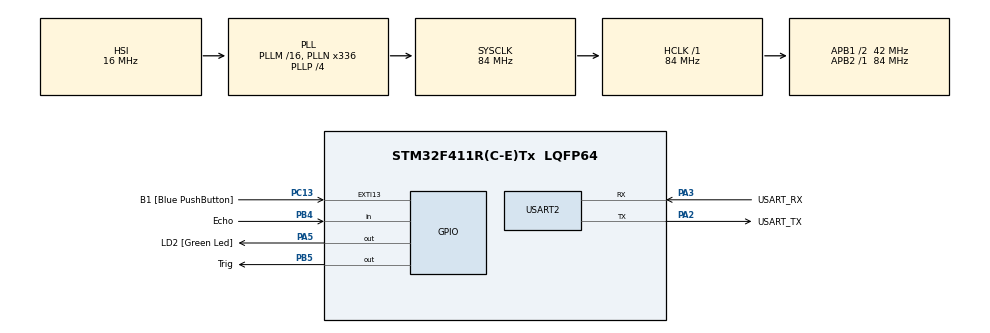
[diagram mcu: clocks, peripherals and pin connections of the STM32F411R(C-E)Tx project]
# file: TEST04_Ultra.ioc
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Mcu.Family=STM32F4
Mcu.Name=STM32F411R(C-E)Tx
Mcu.Package=LQFP64
NVIC.PriorityGroup=NVIC_PRIORITYGROUP_0
PA13.GPIO_Label=TMS
PA13.Mode=Serial_Wire
PA13.Signal=SYS_JTMS-SWDIO
PA14.GPIO_Label=TCK
PA14.Mode=Serial_Wire
PA14.Signal=SYS_JTCK-SWCLK
PA2.GPIO_Label=USART_TX
PA2.Mode=Asynchronous
PA2.Signal=USART2_TX
PA3.GPIO_Label=USART_RX
PA3.Mode=Asynchronous
PA3.Signal=USART2_RX
PA5.GPIO_Label=LD2 [Green Led]
PA5.Signal=GPIO_Output
PB3.GPIO_Label=SWO
PB3.Signal=SYS_JTDO-SWO
PB4.GPIO_Label=Echo
PB4.Signal=GPIO_Input
PB5.GPIO_Label=Trig
PB5.Signal=GPIO_Output
PC13-ANTI_TAMP.GPIO_Label=B1 [Blue PushButton]
PC13-ANTI_TAMP.GPIO_ModeDefaultEXTI=GPIO_MODE_IT_FALLING
PC13-ANTI_TAMP.Signal=GPXTI13
PC14-OSC32_IN.Mode=LSE-External-Oscillator
PC14-OSC32_IN.Signal=RCC_OSC32_IN
PC15-OSC32_OUT.Mode=LSE-External-Oscillator
PC15-OSC32_OUT.Signal=RCC_OSC32_OUT
PH0\ -\ OSC_IN.Mode=HSE-External-Clock-Source
PH0\ -\ OSC_IN.Signal=RCC_OSC_IN
PH1\ -\ OSC_OUT.Mode=HSE-External-Clock-Source
PH1\ -\ OSC_OUT.Signal=RCC_OSC_OUT
ProjectManager.HeapSize=0x200
ProjectManager.StackSize=0x400
ProjectManager.TargetToolchain=STM32CubeIDE
RCC.48MHZClocksFreq_Value=84000000
RCC.AHBFreq_Value=84000000
RCC.APB1CLKDivider=RCC_HCLK_DIV2
RCC.APB1Freq_Value=42000000
RCC.APB1TimFreq_Value=84000000
RCC.APB2Freq_Value=84000000
RCC.APB2TimFreq_Value=84000000
RCC.CortexFreq_Value=84000000
RCC.FLatency-AdvancedSettings=FLASH_LATENCY_2
RCC.HCLKFreq_Value=84000000
RCC.HSE_VALUE=8000000
RCC.HSI_VALUE=16000000
RCC.PLLN=336
RCC.PLLP=RCC_PLLP_DIV4
RCC.SYSCLKFreq_VALUE=84000000
RCC.SYSCLKSource=RCC_SYSCLKSOURCE_PLLCLK
RCC.VCOOutputFreq_Value=336000000
TIM5.Prescaler=84-1
USART2.VirtualMode=VM_ASYNC
VP_TIM5_VS_ClockSourceINT.Mode=Internal
board=NUCLEO-F411RE

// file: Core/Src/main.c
/* USER CODE BEGIN Header */
/**
  ******************************************************************************
  * @file           : main.c
  * @brief          : Main program body
  ******************************************************************************
  * @attention
  *
  * Copyright (c) 2024 STMicroelectronics.
  * All rights reserved.
  *
  * This software is licensed under terms that can be found in the LICENSE file
  * in the root directory of this software component.
  * If no LICENSE file comes with this software, it is provided AS-IS.
  *
  ******************************************************************************
  */
/* USER CODE END Header */
#include "main.h"

/* USER CODE BEGIN Includes */
#include <stdio.h>
/* USER CODE END Includes */

TIM_HandleTypeDef htim5;

UART_HandleTypeDef huart2;

void SystemClock_Config(void);
static void MX_GPIO_Init(void);
static void MX_USART2_UART_Init(void);
static void MX_TIM5_Init(void);

/* USER CODE BEGIN 0 */
void microDelay(int us)
{
	htim5.Instance->CNT = 0;
	while(htim5.Instance->CNT < us);

	//int t1 = htim5.Instance->CNT;
	/*while(1)
	{
		int tmp_us = htim5.Instance->CNT - t1;
		if(tmp_us > us) break;
	}*/
	//while((htim5.Instance->CNT - t1) < us);
}

void Trigger()
{
	//Trigger signal
	HAL_GPIO_WritePin(Trig_GPIO_Port,Trig_Pin,1);
	microDelay(10); // 10us Trigger signal
	HAL_GPIO_WritePin(Trig_GPIO_Port,Trig_Pin,0);
	microDelay(20);
}

double Distance()
{
	Trigger();
	// Wait until Echo rising edge
	while(HAL_GPIO_ReadPin(Echo_GPIO_Port, Echo_Pin) != 1);
	int t1 = htim5.Instance->CNT;
	// Wait until Echo falling edge
	while(HAL_GPIO_ReadPin(Echo_GPIO_Port, Echo_Pin) != 0);
	int t2 = htim5.Instance->CNT;
	double dis = (t2 - t1) * (0.000170); // meter

	return dis;
}
/* USER CODE END 0 */

int main(void)
{

  /* MCU Configuration--------------------------------------------------------*/

  /* Reset of all peripherals, Initializes the Flash interface and the Systick. */
  HAL_Init();

  /* Configure the system clock */
  SystemClock_Config();

  /* Initialize all configured peripherals */
  MX_GPIO_Init();
  MX_USART2_UART_Init();
  MX_TIM5_Init();
  /* USER CODE BEGIN 2 */

  ProgramStart("Ultra Sonic GPIO");
  HAL_TIM_Base_Start(&htim5);
  /* USER CODE END 2 */

  /* Infinite loop */
  while (1)
  {

    /* USER CODE BEGIN 3 */
	  double d = Distance()*100;
	  printf("\033[?25l\n");
	  printf("\033[10;30f\033#3Distance : %.2f cm    \r\n", d);
	  printf("\033[11;30f\033#4Distance : %.2f cm    \033[9;10H\r\n", d);
	  HAL_Delay(100); // 10ms delay
  }
  /* USER CODE END 3 */
}

void SystemClock_Config(void)
{
  RCC_OscInitTypeDef RCC_OscInitStruct = {0};
  RCC_ClkInitTypeDef RCC_ClkInitStruct = {0};

  /** Configure the main internal regulator output voltage
  */
  __HAL_RCC_PWR_CLK_ENABLE();
  __HAL_PWR_VOLTAGESCALING_CONFIG(PWR_REGULATOR_VOLTAGE_SCALE1);

  /** Initializes the RCC Oscillators according to the specified parameters
  * in the RCC_OscInitTypeDef structure.
  */
  RCC_OscInitStruct.OscillatorType = RCC_OSCILLATORTYPE_HSI;
  RCC_OscInitStruct.HSIState = RCC_HSI_ON;
  RCC_OscInitStruct.HSICalibrationValue = RCC_HSICALIBRATION_DEFAULT;
  RCC_OscInitStruct.PLL.PLLState = RCC_PLL_ON;
  RCC_OscInitStruct.PLL.PLLSource = RCC_PLLSOURCE_HSI;
  RCC_OscInitStruct.PLL.PLLM = 16;
  RCC_OscInitStruct.PLL.PLLN = 336;
  RCC_OscInitStruct.PLL.PLLP = RCC_PLLP_DIV4;
  RCC_OscInitStruct.PLL.PLLQ = 4;
  if (HAL_RCC_OscConfig(&RCC_OscInitStruct) != HAL_OK)
  {
    Error_Handler();
  }

  /** Initializes the CPU, AHB and APB buses clocks
  */
  RCC_ClkInitStruct.ClockType = RCC_CLOCKTYPE_HCLK|RCC_CLOCKTYPE_SYSCLK
                              |RCC_CLOCKTYPE_PCLK1|RCC_CLOCKTYPE_PCLK2;
  RCC_ClkInitStruct.SYSCLKSource = RCC_SYSCLKSOURCE_PLLCLK;
  RCC_ClkInitStruct.AHBCLKDivider = RCC_SYSCLK_DIV1;
  RCC_ClkInitStruct.APB1CLKDivider = RCC_HCLK_DIV2;
  RCC_ClkInitStruct.APB2CLKDivider = RCC_HCLK_DIV1;

  if (HAL_RCC_ClockConfig(&RCC_ClkInitStruct, FLASH_LATENCY_2) != HAL_OK)
  {
    Error_Handler();
  }
}

static void MX_TIM5_Init(void)
{

  TIM_ClockConfigTypeDef sClockSourceConfig = {0};
  TIM_MasterConfigTypeDef sMasterConfig = {0};

  htim5.Instance = TIM5;
  htim5.Init.Prescaler = 84-1;
  htim5.Init.CounterMode = TIM_COUNTERMODE_UP;
  htim5.Init.Period = 4294967295;
  htim5.Init.ClockDivision = TIM_CLOCKDIVISION_DIV1;
  htim5.Init.AutoReloadPreload = TIM_AUTORELOAD_PRELOAD_DISABLE;
  if (HAL_TIM_Base_Init(&htim5) != HAL_OK)
  {
    Error_Handler();
  }
  sClockSourceConfig.ClockSource = TIM_CLOCKSOURCE_INTERNAL;
  if (HAL_TIM_ConfigClockSource(&htim5, &sClockSourceConfig) != HAL_OK)
  {
    Error_Handler();
  }
  sMasterConfig.MasterOutputTrigger = TIM_TRGO_RESET;
  sMasterConfig.MasterSlaveMode = TIM_MASTERSLAVEMODE_DISABLE;
  if (HAL_TIMEx_MasterConfigSynchronization(&htim5, &sMasterConfig) != HAL_OK)
  {
    Error_Handler();
  }

}

static void MX_USART2_UART_Init(void)
{

  huart2.Instance = USART2;
  huart2.Init.BaudRate = 115200;
  huart2.Init.WordLength = UART_WORDLENGTH_8B;
  huart2.Init.StopBits = UART_STOPBITS_1;
  huart2.Init.Parity = UART_PARITY_NONE;
  huart2.Init.Mode = UART_MODE_TX_RX;
  huart2.Init.HwFlowCtl = UART_HWCONTROL_NONE;
  huart2.Init.OverSampling = UART_OVERSAMPLING_16;
  if (HAL_UART_Init(&huart2) != HAL_OK)
  {
    Error_Handler();
  }

}

static void MX_GPIO_Init(void)
{
  GPIO_InitTypeDef GPIO_InitStruct = {0};

  /* GPIO Ports Clock Enable */
  __HAL_RCC_GPIOC_CLK_ENABLE();
  __HAL_RCC_GPIOH_CLK_ENABLE();
  __HAL_RCC_GPIOA_CLK_ENABLE();
  __HAL_RCC_GPIOB_CLK_ENABLE();

  /*Configure GPIO pin Output Level */
  HAL_GPIO_WritePin(LD2_GPIO_Port, LD2_Pin, GPIO_PIN_RESET);

  /*Configure GPIO pin Output Level */
  HAL_GPIO_WritePin(Trig_GPIO_Port, Trig_Pin, GPIO_PIN_RESET);

  /*Configure GPIO pin : B1_Pin */
  GPIO_InitStruct.Pin = B1_Pin;
  GPIO_InitStruct.Mode = GPIO_MODE_IT_FALLING;
  GPIO_InitStruct.Pull = GPIO_NOPULL;
  HAL_GPIO_Init(B1_GPIO_Port, &GPIO_InitStruct);

  /*Configure GPIO pin : LD2_Pin */
  GPIO_InitStruct.Pin = LD2_Pin;
  GPIO_InitStruct.Mode = GPIO_MODE_OUTPUT_PP;
  GPIO_InitStruct.Pull = GPIO_NOPULL;
  GPIO_InitStruct.Speed = GPIO_SPEED_FREQ_LOW;
  HAL_GPIO_Init(LD2_GPIO_Port, &GPIO_InitStruct);

  /*Configure GPIO pin : Echo_Pin */
  GPIO_InitStruct.Pin = Echo_Pin;
  GPIO_InitStruct.Mode = GPIO_MODE_INPUT;
  GPIO_InitStruct.Pull = GPIO_NOPULL;
  HAL_GPIO_Init(Echo_GPIO_Port, &GPIO_InitStruct);

  /*Configure GPIO pin : Trig_Pin */
  GPIO_InitStruct.Pin = Trig_Pin;
  GPIO_InitStruct.Mode = GPIO_MODE_OUTPUT_PP;
  GPIO_InitStruct.Pull = GPIO_NOPULL;
  GPIO_InitStruct.Speed = GPIO_SPEED_FREQ_LOW;
  HAL_GPIO_Init(Trig_GPIO_Port, &GPIO_InitStruct);

}

void Error_Handler(void)
{
  __disable_irq();
  while (1)
  {
  }
}
